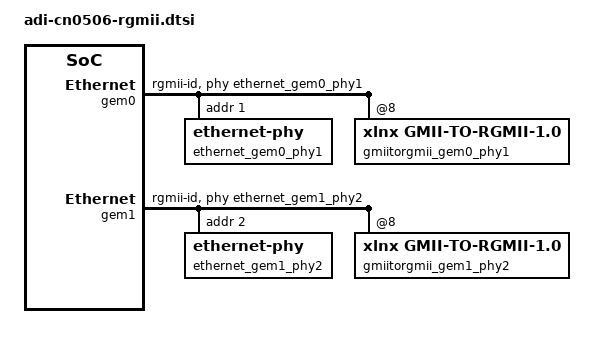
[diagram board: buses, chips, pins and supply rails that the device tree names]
&gem0 {
	status = "okay";
	phy-mode = "rgmii-id";
	phy-handle = <&ethernet_gem0_phy1>;

	ethernet_gem0_phy1: ethernet-phy@1 {
		reg = <1>;
	};

	gmiitorgmii_gem0_phy1: gmiitorgmii@8 {
		compatible = "xlnx,gmii-to-rgmii-1.0";
		reg = <8>;
		phy-handle = <&ethernet_gem0_phy1>;
	};
};

&gem1 {
	status = "okay";
	phy-mode = "rgmii-id";
	phy-handle = <&ethernet_gem1_phy2>;

	ethernet_gem1_phy2: ethernet-phy@2 {
		reg = <2>;
	};

	gmiitorgmii_gem1_phy2: gmiitorgmii@8 {
		compatible = "xlnx,gmii-to-rgmii-1.0";
		reg = <8>;
		phy-handle = <&ethernet_gem1_phy2>;
	};
};
